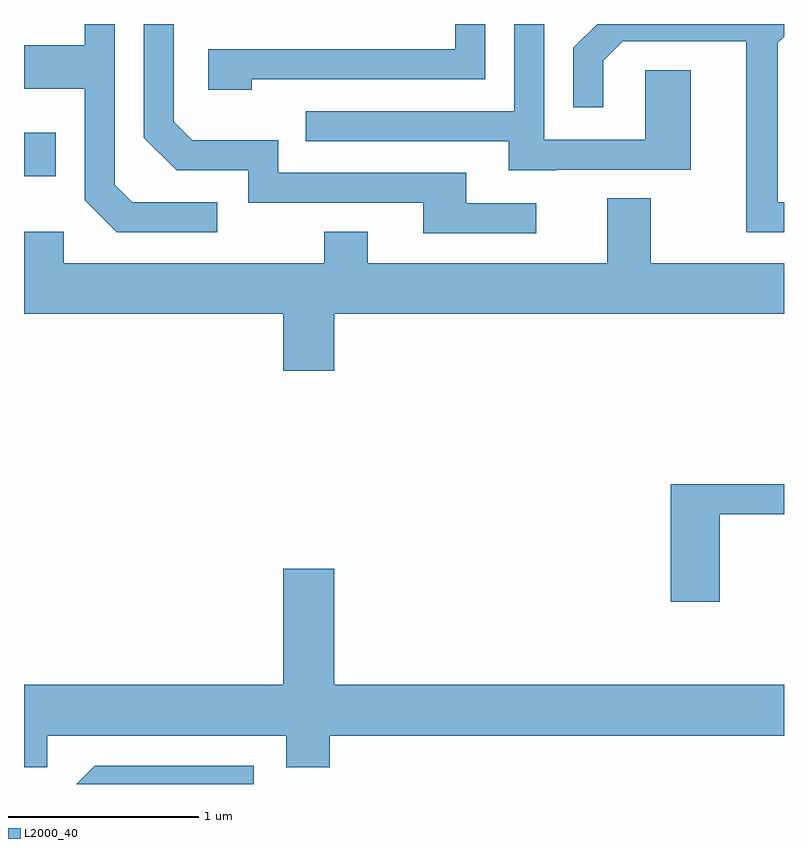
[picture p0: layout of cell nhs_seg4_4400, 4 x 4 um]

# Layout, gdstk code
import gdstk
lib = gdstk.Library(unit=1e-6, precision=1e-09)
def R(c, l, rs):  # rectangles x0, y0, x1, y1
    for r in rs: c.add(gdstk.rectangle(r[:2], r[2:], *l))
def P(c, l, *ps):  # polygons
    for p in ps: c.add(gdstk.Polygon(p, *l))
L2000_40 = (2000, 40)

nhs_seg4_4400 = lib.new_cell('nhs_seg4_4400')
R(nhs_seg4_4400, L2000_40, [(313.611,1353.181,313.779,1353.409)])
P(nhs_seg4_4400, L2000_40, [(316.308,1353.039),(315.939,1353.039),(315.939,1353.199),(314.949,1353.199),(314.949,1353.369),(314.497,1353.369),(314.399,1353.467),(314.399,1353.982),(314.241,1353.982),(314.241,1353.384),(314.414,1353.211),(314.791,1353.211),(314.791,1353.041),(315.711,1353.041),(315.711,1352.881),(316.308,1352.881)],
  [(316.415,1353.216),(317.119,1353.216),(317.119,1353.739),(316.881,1353.739),(316.881,1353.374),(316.349,1353.374),(316.349,1353.982),(316.191,1353.982),(316.191,1353.524),(315.093,1353.524),(315.093,1353.366),(316.161,1353.366),(316.161,1353.211),(316.415,1353.211)],
  [(317.611,1353.044),(317.579,1353.044),(317.579,1353.884),(317.611,1353.916),(317.611,1353.982),(316.627,1353.982),(316.501,1353.857),(316.501,1353.543),(316.659,1353.543),(316.659,1353.789),(316.762,1353.891),(317.411,1353.891),(317.411,1352.886),(317.611,1352.886)],
  [(314.628,1353.044),(314.182,1353.044),(314.089,1353.137),(314.089,1353.982),(313.931,1353.982),(313.931,1353.869),(313.611,1353.869),(313.611,1353.641),(313.931,1353.641),(313.931,1353.054),(314.099,1352.886),(314.628,1352.886)],
  [(314.809,1353.691),(316.039,1353.691),(316.039,1353.982),(315.881,1353.982),(315.881,1353.849),(314.581,1353.849),(314.581,1353.636),(314.809,1353.636)],
  [(315.244,1352.456),(317.611,1352.456),(317.611,1352.724),(316.909,1352.724),(316.909,1353.064),(316.681,1353.064),(316.681,1352.724),(315.419,1352.724),(315.419,1352.889),(315.191,1352.889),(315.191,1352.724),(313.819,1352.724),(313.819,1352.889),(313.611,1352.889),(313.611,1352.456),(314.976,1352.456),(314.976,1352.156),(315.244,1352.156)],
  [(317.274,1351.401),(317.611,1351.401),(317.611,1351.559),(317.016,1351.559),(317.016,1350.941),(317.274,1350.941)],
  [(313.734,1350.236),(314.991,1350.236),(314.991,1350.071),(315.219,1350.071),(315.219,1350.236),(317.611,1350.236),(317.611,1350.504),(315.244,1350.504),(315.244,1351.114),(314.976,1351.114),(314.976,1350.504),(313.611,1350.504),(313.611,1350.071),(313.734,1350.071)],
  [(314.819,1350.079),(313.984,1350.079),(313.887,1349.982),(314.819,1349.982)])

lib.write_gds('nhs_seg4_4400.gds')
